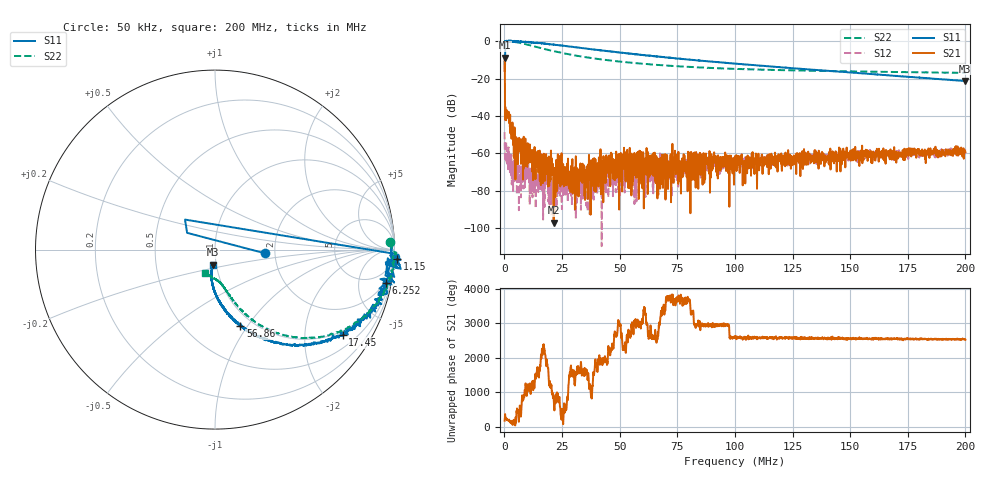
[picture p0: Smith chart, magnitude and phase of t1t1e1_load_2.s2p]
! 27-Aug-26 2:30:55 PM
! E:\20260827_VNA\T1T1E1_LOAD_2.S2P
! CHANNEL.1
! TR.MEASUREMENT
! CORRECTED.DATA
# GHZ S RI R 50.0
! FREQ.GHZ  S11RE  S11IM  S21RE  S21IM  S12RE  S12IM  S22RE  S22IM
!; PortSelection: Port_12
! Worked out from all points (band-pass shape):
!   2000 points, 50 kHz to 200 MHz, reference 50 ohm
!   highest |S21| = -8.85 dB at 150 kHz (marker M1); lowest = -97.1 dB at 21.36 MHz (marker M2)
!   |S21| within 3 dB of the highest: 107.9 kHz to 159.1 kHz (51.15 kHz wide, 38.3 % of centre)
!   lowest |S11| = -21.4 dB at 199.9 MHz (marker M3), VSWR 1.19, Z = 48.3 - j8.25 ohm
!   |S11| at or under -10 dB: start of sweep to 270.2 kHz; 81.02 MHz to end of sweep
!   |S22| runs from -17.0 to 0.1 dB; largest |S21 - S12| = 0.36
!   S11 on the Smith chart (normalised r, x): 50 kHz: 1.77, -0.08; 1.15 MHz: -11, -36; 6.252 MHz: 2, -10; 17.45 MHz: 0.87, -3.08; 56.86 MHz: 0.87, -0.93; 200 MHz: 0.97, -0.17
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5e-05  0.2791 -0.0209  -0.1572 0.0237  0.00148 -0.00338  0.9754 0.0428
0.000150025  -0.1553 0.0933  -0.1726 -0.3171  0.00103 -4.11e-05  0.9897 -0.00915
0.001150275  1.014 -0.0523  -0.00918 -0.00548  -2.01e-05 -0.000466  0.9892 -0.0725
0.004751176  0.9577 -0.1801  -0.000199 -2.31e-05  -0.000271 0.000291  0.8895 -0.3095
0.006251551  0.9533 -0.1846  -0.00152 0.0012  2.7e-06 3.01e-05  0.8251 -0.3772
0.009352326  0.9105 -0.307  -0.000306 0.000341  -0.000346 0.000127  0.6765 -0.4601
0.01745435  0.7119 -0.4752  0.000521 0.000584  8.1e-06 0.000164  0.3846 -0.4766
0.02135533  0.6331 -0.5042  3.4e-06 1.35e-05  -3.93e-05 -9.3e-06  0.301 -0.4462
0.03065765  0.4363 -0.5321  -2.09e-05 -2.39e-05  -0.00012 4.51e-05  0.1829 -0.3708
0.03345835  0.3863 -0.5258  -0.000161 0.000261  -0.000124 0.000133  0.1616 -0.3517
0.05246311  0.1683 -0.4475  -0.000142 0.000191  -0.000257 0.000243  0.0842 -0.2613
0.05476368  0.1567 -0.4331  -0.000188 0.000687  -0.000134 3.25e-05  0.079 -0.2529
0.05686421  0.1413 -0.4273  -0.000229 -0.000557  -7.46e-05 7.67e-05  0.0748 -0.2465
0.06046511  0.1189 -0.4079  -1.17e-05 3.18e-05  -0.000105 0.000304  0.0689 -0.2363
0.06426606  0.0981 -0.3878  0.000366 0.000307  -9.22e-05 0.000134  0.063 -0.2279
0.06676668  0.0862 -0.3766  -0.000203 5.7e-05  -1.63e-05 7.53e-05  0.0589 -0.2226
0.07116778  0.0689 -0.3536  0.000205 0.000549  -0.000215 0.000585  0.0527 -0.2137
0.100075  0.00433 -0.2516  1.18e-05 0.000847  0.000215 0.00072  0.0228 -0.1797
0.1333833  -0.0181 -0.1714  0.000192 0.000575  0.000557 0.000549  -0.00379 -0.1616
0.1666917  -0.0187 -0.1197  0.000764 0.000481  0.00091 0.00034  -0.0295 -0.1473
0.1999  -0.0101 -0.0847  0.00106 0.000461  0.00098 0.000304  -0.0552 -0.1302
0.2  -0.00985 -0.085  0.00105 0.000176  0.00125 0.000298  -0.0556 -0.1305
